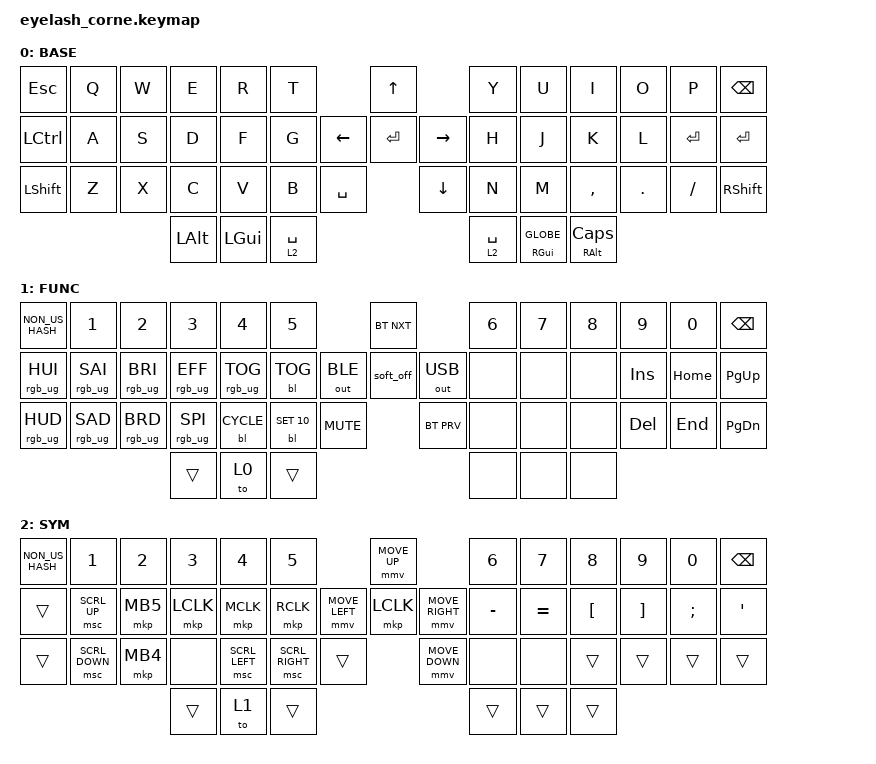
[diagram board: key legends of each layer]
#define ZMK_POINTING_DEFAULT_MOVE_VAL 1200  // 600
#define ZMK_POINTING_DEFAULT_SCRL_VAL 25   // 10

#include <input/processors.dtsi>
#include <zephyr/dt-bindings/input/input-event-codes.h>
#include <behaviors.dtsi>
#include <dt-bindings/zmk/backlight.h>
#include <dt-bindings/zmk/bt.h>
#include <dt-bindings/zmk/keys.h>
#include <dt-bindings/zmk/outputs.h>
#include <dt-bindings/zmk/pointing.h>
#include <dt-bindings/zmk/rgb.h>

&mmv_input_listener { input-processors = <&zip_xy_scaler 2 1>; };

&msc_input_listener { input-processors = <&zip_scroll_scaler 2 1>; };

&msc {
    acceleration-exponent = <1>;      // 0
    time-to-max-speed-ms = <100>;       // 300
    delay-ms = <0>;                   // 0
};

&mmv {
    time-to-max-speed-ms = <500>;
    acceleration-exponent = <1>;
    trigger-period-ms = <16>;
};

&soft_off { hold-time-ms = <2000>; };

/ {
    behaviors {
        td0: td0 {
            compatible = "zmk,behavior-tap-dance";
            display-name = "Shift/Caps Lock Tap Dance";
            #binding-cells = <0>;
            bindings = <&kp LEFT_SHIFT>, <&kp CAPS>;
        };
    };

    rgb_encoder: rgb_encoder {
        compatible = "zmk,behavior-sensor-rotate";
        #sensor-binding-cells = <0>;
        bindings = <&rgb_ug RGB_BRI>, <&rgb_ug RGB_BRD>;
    };

    scroll_encoder: scroll_encoder {
        compatible = "zmk,behavior-sensor-rotate";
        #sensor-binding-cells = <0>;
        bindings = <&msc SCRL_DOWN>, <&msc SCRL_UP>;

        tap-ms = <100>;
    };

    combos {
        compatible = "zmk,combos";

        softoff {
            bindings = <&soft_off>;
            key-positions = <>;
        };
    };

    keymap {
        compatible = "zmk,keymap";

        default_layer {
            display-name = "BASE";
            bindings = <
&kp ESC     &kp Q  &kp W  &kp E         &kp R         &kp T                               &kp UP                &kp Y        &kp U                &kp I               &kp O    &kp P      &kp BSPC
&kp LCTRL   &kp A  &kp S  &kp D         &kp F         &kp G                     &kp LEFT  &kp ENTER  &kp RIGHT  &kp H        &kp J                &kp K               &kp L    &kp ENTER  &kp ENTER
&kp LSHIFT  &kp Z  &kp X  &kp C         &kp V         &kp B        &kp SPACE              &kp DOWN              &kp N        &kp M                &kp COMMA           &kp DOT  &kp FSLH   &kp RSHIFT
                          &kp LEFT_ALT  &kp LEFT_GUI  &lt 2 SPACE                                               &lt 2 SPACE  &mt RIGHT_GUI GLOBE  &mt RIGHT_ALT CAPS
            >;
        };

        lower_layer {
            display-name = "FUNC";
            bindings = <
&kp NON_US_HASH  &kp N1           &kp N2           &kp N3           &kp N4           &kp N5                                     &bt BT_NXT                &kp N6  &kp N7  &kp N8  &kp N9      &kp N0    &kp BACKSPACE
&rgb_ug RGB_HUI  &rgb_ug RGB_SAI  &rgb_ug RGB_BRI  &rgb_ug RGB_EFF  &rgb_ug RGB_TOG  &bl BL_TOG                   &out OUT_BLE  &soft_off   &out OUT_USB  &none   &none   &none   &kp INSERT  &kp HOME  &kp PG_UP
&rgb_ug RGB_HUD  &rgb_ug RGB_SAD  &rgb_ug RGB_BRD  &rgb_ug RGB_SPI  &bl BL_CYCLE     &bl BL_SET 10  &kp C_MUTE                  &bt BT_PRV                &none   &none   &none   &kp DEL     &kp END   &kp PG_DN
                                                   &trans           &to 0            &trans                                                               &none   &none   &none
            >;
        };

        raise_layer {
            display-name = "SYM";
            bindings = <
&kp NON_US_HASH  &kp NUMBER_1    &kp NUMBER_2  &kp NUMBER_3  &kp NUMBER_4    &kp NUMBER_5                               &mmv MOVE_UP                     &kp NUMBER_6  &kp NUMBER_7  &kp NUMBER_8      &kp NUMBER_9       &kp NUMBER_0  &kp BSPC
&trans           &msc SCRL_UP    &mkp MB5      &mkp LCLK     &mkp MCLK       &mkp RCLK                  &mmv MOVE_LEFT  &mkp LCLK       &mmv MOVE_RIGHT  &kp MINUS     &kp EQUAL     &kp LEFT_BRACKET  &kp RIGHT_BRACKET  &kp SEMI      &kp SQT
&trans           &msc SCRL_DOWN  &mkp MB4      &none         &msc SCRL_LEFT  &msc SCRL_RIGHT  &trans                    &mmv MOVE_DOWN                   &none         &none         &trans            &trans             &trans        &trans
                                               &trans        &to 1           &trans                                                                      &trans        &trans        &trans
            >;
        };
    };
};
